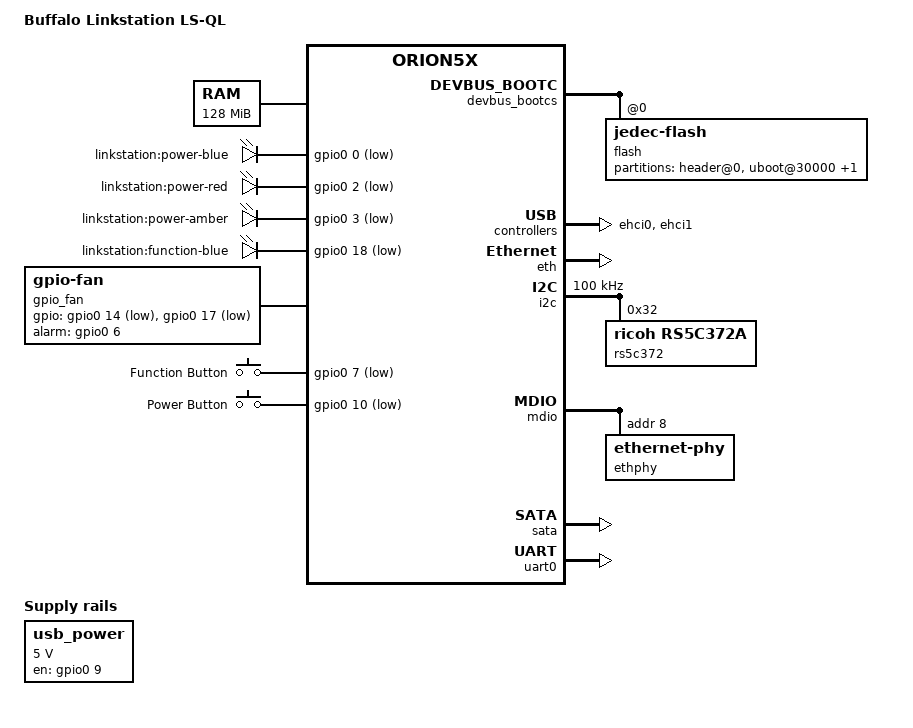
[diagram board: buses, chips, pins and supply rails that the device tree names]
/*
 * Copyright (C) 2014 Thomas Petazzoni <thomas.petazzoni@free-electrons.com>
 *
 * This file is licensed under the terms of the GNU General Public
 * License version 2. This program is licensed "as is" without any
 * warranty of any kind, whether express or implied.
 */

/dts-v1/;

#include <dt-bindings/gpio/gpio.h>
#include <dt-bindings/input/input.h>
#include <dt-bindings/interrupt-controller/irq.h>
#include "orion5x-mv88f5182.dtsi"

/ {
	model = "Buffalo Linkstation LS-QL";
	compatible = "marvell,orion5x-88f5182", "marvell,orion5x";

	memory
	{
		reg = <0x00000000 0x8000000>; /* 128 MB */
	};

	chosen
	{
		bootargs = "console=ttyS0,115200n8 earlyprintk";
		linux,stdout-path = &uart0;
	};

	soc
	{
		ranges = <MBUS_ID(0xf0, 0x01) 0 0xf1000000 0x100000>,
			 <MBUS_ID(0x09, 0x00) 0 0xf2200000 0x800>,
			 <MBUS_ID(0x01, 0x0f) 0 0xf4000000 0x80000>,
			 <MBUS_ID(0x01, 0x1d) 0 0xfc000000 0x1000000>;
	};

	gpio-leds
	{
		compatible = "gpio-leds";
		pinctrl-0 = <&pmx_led_function_blue &pmx_led_power_red &pmx_led_power_amber>;
		pinctrl-names = "default";

		blue-power-led
                {
                        label = "linkstation:power-blue";
                        gpios = <&gpio0 0 GPIO_ACTIVE_LOW>;
                        default-state = "on";
                };

		power-red
		{
			label = "linkstation:power-red";
			gpios = <&gpio0 2 GPIO_ACTIVE_LOW>;
		};

		power-amber
		{
			label = "linkstation:power-amber";
			gpios = <&gpio0 3 GPIO_ACTIVE_LOW>;
		};

		blue-function-led
		{
			label = "linkstation:function-blue";
			gpios = <&gpio0 18 GPIO_ACTIVE_LOW>;
		};

	};

	gpio_fan
	{
		compatible = "gpio-fan";
		pinctrl-0 = <&pmx_fan_low &pmx_fan_high &pmx_fan_lock>;
		pinctrl-names = "default";

		gpio-fan,speed-map =
			<0	      3
			1500    2
			3250    1
			5000    0>;

		gpios = <&gpio0 14 GPIO_ACTIVE_LOW
			 &gpio0 17 GPIO_ACTIVE_LOW>;

		alarm-gpios = <&gpio0 6 GPIO_ACTIVE_HIGH>;
	};


	//although binding for the gpio controller lists 32 pins,
	//The orion-pinctrl driver only has entries for MPP0-MPP19
	//the auto switch can be observed changing the value of GPIO22
	//from userspace but the gpio-key driver sees it as invalid.
	//orion-pinctrl should probably be patched to correct this.
	gpio-keys
	{
		compatible = "gpio-keys";
		pinctrl-0 = <&pmx_function_button &pmx_power_button>; // &pmx_auto_switch>;
		pinctrl-names = "default";
		#address-cells = <1>;
		#size-cells = <0>;
	  
		function-button
		{
			label = "Function Button";
			linux,code = <KEY_OPTION>;
			gpios = <&gpio0 7 GPIO_ACTIVE_LOW>;
		};

		power-button
		{
			label = "Power Button";
			linux,code = <KEY_PROG1>;
			gpios = <&gpio0 10 GPIO_ACTIVE_LOW>;
		};

/*
		autopower
		{
			label = "Power-auto Switch";
			linux,input-type = <EV_SW>;
			linux,code = <KEY_ESC>; 
			gpios = <&gpio0 22 GPIO_ACTIVE_LOW>;
		};
*/
	};

	regulators
	{
                compatible = "simple-bus";
                #address-cells = <1>;
                #size-cells = <0>;
                pinctrl-0 = <&pmx_power_usb>;
                pinctrl-names = "default";

                usb_power: regulator@0
		{
                        compatible = "regulator-fixed";
                        reg = <0>;
                        regulator-name = "USB Power";
                        regulator-min-microvolt = <5000000>;
                        regulator-max-microvolt = <5000000>;
                        enable-active-high;
                        regulator-always-on;
                        regulator-boot-on;
			gpio = <&gpio0 9 GPIO_ACTIVE_HIGH>;
                };
        };

	restart_poweroff
	{
                compatible = "restart-poweroff";
        };
};


&devbus_bootcs {
	status = "okay";
	devbus,keep-config;

	flash@0 {
		compatible = "jedec-flash";
		reg = <0 0x40000>;
		bank-width = <1>;

		partitions {
			compatible = "fixed-partitions";
			#address-cells = <1>;
			#size-cells = <1>;

			header@0 {
				reg = <0 0x30000>;
				read-only;
			};

			uboot@30000 {
				reg = <0x30000 0xF000>;
				read-only;
			};

			uboot_env@3F000 {
				reg = <0x3F000 0x1000>;
			};
		};
	};
};

&ehci0 {
	status = "okay";
};

&ehci1 {
	status = "okay";
};

&eth {
	status = "okay";

	ethernet-port@0 {
		phy-handle = <&ethphy>;
	};
};

&i2c {
	status = "okay";
	clock-frequency = <100000>;
	#address-cells = <1>;

	rs5c372: rs5c372@32
	{
		compatible = "ricoh,rs5c372a";
		reg = <0x32>;
	};

};

&mdio {
	status = "okay";

	ethphy: ethernet-phy {
		reg = <8>;
	};
};

&pinctrl
{
	pmx_led_power_blue: pmx-led-power-blue
        {
                marvell,pins = "mpp0";
                marvell,function = "gpio";
        };

	pmx_led_power_red: pmx_led_power_red
	{
		marvell,pins = "mpp2";
		marvell,function = "gpio";
	};

	pmx_led_power_amber: pmx-led-power-amber 
	{
		marvell,pins = "mpp3";
		marvell,function = "gpio";
	};

	pmx_fan_lock: pmx-fan-lock
	{
		marvell,function = "gpio";
		marvell,pins = "mpp6";
	};

	pmx_function_button: pmx-function-button
	{
		marvell,pins = "mpp7";
		marvell,function = "gpio";
	};

	pmx_power_usb: pmx-power-usb
	{
		marvell,pins = "mpp9";
                marvell,function = "gpio";
        };

	pmx_power_button: pmx-power-button
	{
		marvell,pins = "mpp10";
		marvell,function = "gpio";
	};

	pmx_fan_low: pmx-fan-low
	{
		marvell,function = "gpio";
		marvell,pins = "mpp14";		
	};

	pmx_fan_high: pmx-fan-high
	{
		marvell,function = "gpio";
		marvell,pins = "mpp17";
	};

	pmx_led_function_blue: pmx-led-function-blue
        {
                marvell,pins = "mpp18";
                marvell,function = "gpio";
        };

	pmx_auto_switch: pmx-auto-switch 
	{
		marvell,pins = "mpp22";
		marvell,function = "gpio";
	};

};

&sata
{
	status = "okay";
	nr-ports = <1>;
};

&uart0
{
	status = "okay";
};
